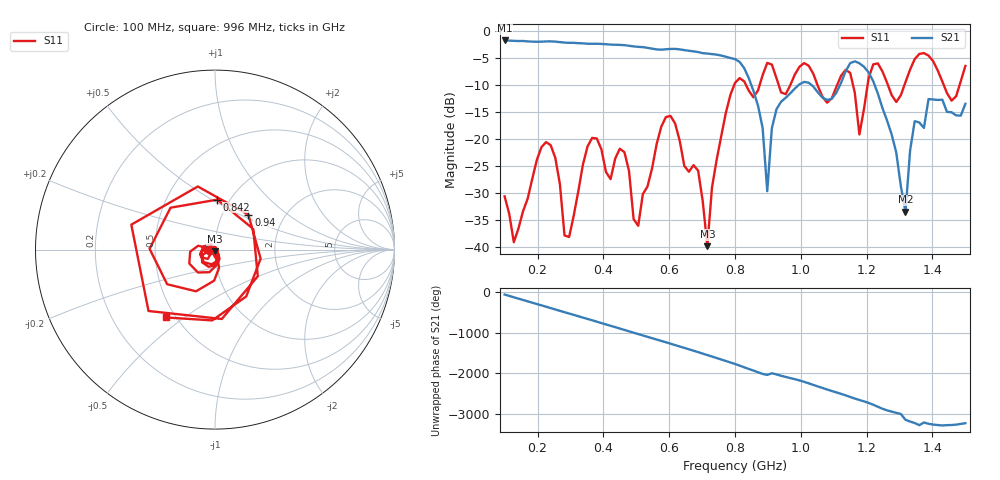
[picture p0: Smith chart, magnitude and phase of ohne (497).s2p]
! NanoVNA-App
! Date: 2025-09-25 14:24:40
! Start: 100MHz Stop: 1,5GHz Points: 101
! S-Parameter data: F S11 S21 S12 S22
# Hz S RI R 50
!  Frequency  S11_Real  S11_Imag  S21_Real  S21_Imag  S12_Real  S12_Imag  S22_Real  S22_Imag
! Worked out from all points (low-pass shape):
!   101 points, 100 MHz to 1.5 GHz, reference 50 ohm
!   highest |S21| = -1.79 dB at 100 MHz (marker M1); lowest = -33.5 dB at 1.318 GHz (marker M2)
!   |S21| within 3 dB of the highest: start of sweep to 771.1 MHz
!   lowest |S11| = -39.9 dB at 716 MHz (marker M3), VSWR 1.02, Z = 49.7 - j0.976 ohm
!   |S11| at or under -10 dB: start of sweep to 797.8 MHz; 833.1 MHz to 875.1 MHz (41.97 MHz wide, 4.91 % of centre); 1.05 GHz to 1.111 GHz (60.37 MHz wide, 5.59 % of centre) (the widest 3 of 7)
!   S12 and S22 are empty: the file has one direction only
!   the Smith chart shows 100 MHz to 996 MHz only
!   S11 on the Smith chart (normalised r, x): 100 MHz: 0.94, -0.01; 842 MHz: 0.88, +0.53; 940 MHz: 1.32, +0.56; 996 MHz: 0.45, -0.43
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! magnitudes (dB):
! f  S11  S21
! 100 MHz  -30.6  -1.8
! 128 MHz  -39.1  -1.9
! 226 MHz  -20.6  -2.0
! 296 MHz  -38.2  -2.2
! 338 MHz  -24.7  -2.3
! 464 MHz  -22.5  -2.7
! 506 MHz  -36.1  -3.0
! 576 MHz  -17.8  -3.5
! 688 MHz  -25.9  -3.9
! 716 MHz  -39.9  -4.2
! 800 MHz  -9.7  -5.2
! 842 MHz  -11.1  -8.8
! 898 MHz  -5.9  -29.7
! 940 MHz  -11.4  -13.1
! 996 MHz  -6.7  -9.9
! 1.038 GHz  -8.0  -10.3
! 1.178 GHz  -19.2  -6.0
! 1.22 GHz  -6.2  -9.3
! 1.276 GHz  -11.9  -19.2
! 1.318 GHz  -9.5  -33.5
! 1.346 GHz  -5.3  -16.7
! 1.5 GHz  -6.5  -13.5
